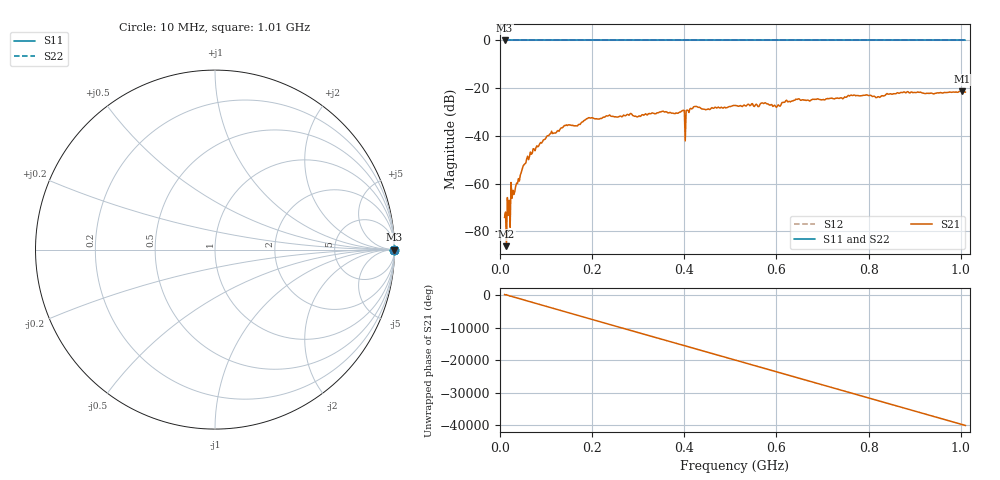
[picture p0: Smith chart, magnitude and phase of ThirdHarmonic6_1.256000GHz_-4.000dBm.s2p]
! 8/16/2025 1:27:48 PM
! C:\ANRITSUVNA\TEMP\TEMP.S2P
! CHANNEL.1
! TR.MEASUREMENT
! RAW.DATA
! RF.CORRECTION.OFF
! AVERAGING.OFF
! IF.BANDWIDTH: 5KHZ
! SWEEPTYPE:  FREQ.SWEEP(Linear)
! Reference Plane Port Info
! PORT:  PORT1  PORT2
! DISTANCE:  0  m  0  m
! TIME:  0  s  0  s
! PHASE.OFFSET:  0  deg.  0  deg.
! LOSS:  0  dB  0  dB
! REF.LOSS:  0  dB  0  dB
! REF.FREQ:  0  Hz  0  Hz
! Power Info
! POWER:  -20  dBm  -20  dBm
! EFF.POWER:  -20  dBm  -20  dBm
! SOURCE.ATTEN:  0  dB  0  dB
! TEST.ATTEN:  0  dB  0  dB
# GHZ S RI R 50.0
! FREQ.GHZ  S11RE  S11IM  S21RE  S21IM  S12RE  S12IM  S22RE  S22IM
!; PortSelection: Port_12
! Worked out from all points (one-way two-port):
!   501 points, 10 MHz to 1.01 GHz, reference 50 ohm
!   highest |S21| = -21.25 dB at 1.002 GHz (marker M1); lowest = -86.2 dB at 14 MHz (marker M2)
!   lowest |S11| = 0.0 dB at 10 MHz (marker M3)
!   |S11| at or under -10 dB: nowhere
!   |S22| runs from 0.0 to 0.0 dB; largest |S21 - S12| = 1.1
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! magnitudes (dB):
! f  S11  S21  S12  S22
! 10 MHz  0.0  -74.1  0.0  0.0
! 14 MHz  0.0  -86.2  0.0  0.0
! 18 MHz  0.0  -73.3  0.0  0.0
! 20 MHz  0.0  -67.0  0.0  0.0
! 26 MHz  0.0  -66.1  0.0  0.0
! 28 MHz  0.0  -62.7  0.0  0.0
! 56 MHz  0.0  -51.3  0.0  0.0
! 70 MHz  0.0  -47.3  0.0  0.0
! 108 MHz  0.0  -39.2  0.0  0.0
! 178 MHz  0.0  -34.2  0.0  0.0
! 344 MHz  0.0  -30.3  0.0  0.0
! 396 MHz  0.0  -29.4  0.0  0.0
! 398 MHz  0.0  -29.3  0.0  0.0
! 406 MHz  0.0  -29.2  0.0  0.0
! 408 MHz  0.0  -29.3  0.0  0.0
! 424 MHz  0.0  -27.7  0.0  0.0
! 510 MHz  0.0  -27.2  0.0  0.0
! 604 MHz  0.0  -27.0  0.0  0.0
! 678 MHz  0.0  -24.7  0.0  0.0
! 844 MHz  0.0  -22.5  0.0  0.0
! 1.002 GHz  0.0  -21.2  0.0  0.0
! 1.01 GHz  0.0  -21.6  0.0  0.0
